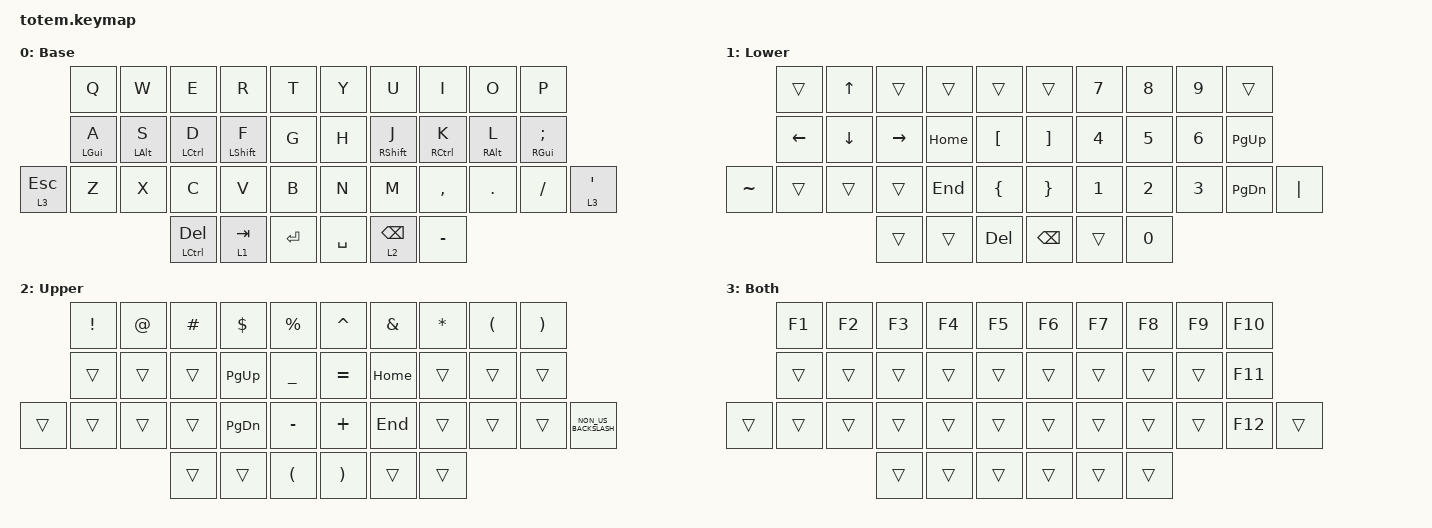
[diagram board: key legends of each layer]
//
//                                                        ▀▀▀▀▀     ▀▀▀▀▀          ▀▀█▀▀
//                                                        ▄▀▀▀▄  ▄  ▄▀▀▀▄  ▄  ▄▀▀▀▄  █  ▄▀▀▀▄
//                                                        █   █  █  █   █  █  █   █  █  █   █
//                                                         ▀▀▀   █   ▀▀▀   █   ▀▀▀   ▀   ▀▀▀
//                                                               █      ▄▄▄█▄▄▄    █   █  
//                                                               ▀      █  █  █     █▄█
//                                                             ▀▀▀▀▀    █  █  █      ▀
//                                                                      ▀  ▀  ▀
//
// ▄▄▄▄▄▄▄▄▄▄▄▄▄▄▄▄▄▄▄▄▄▄▄▄▄▄▄▄▄▄▄▄▄▄▄▄▄▄▄▄▄▄▄▄▄▄▄▄▄▄▄▄▄▄▄▄▄▄▄▄▄▄▄▄▄▄▄▄▄▄▄▄▄▄▄▄▄▄▄▄▄▄▄▄▄▄▄▄▄▄▄▄▄▄▄▄▄▄▄▄▄▄▄▄▄▄▄▄▄▄▄▄▄▄▄▄▄▄▄▄▄▄▄▄▄▄▄▄▄▄▄▄▄▄▄▄▄▄▄▄▄▄▄▄▄▄▄▄▄

#include <behaviors.dtsi>
#include <dt-bindings/zmk/keys.h>

#define Base        0
#define Nav         1
#define Sym         2
#define Fun         3
#define Game        4
#define Gameplus    5

&mt {
    quick-tap-ms = <100>;
    global-quick-tap;
    flavor = "tap-preferred";
    tapping-term-ms = <170>;
};

&lt {
    tapping-term-ms = <240>;
    flavor = "balanced";
    quick-tap-ms = <150>;
};

/ {
    behaviors {
        hm: homerow_mods {
            compatible = "zmk,behavior-hold-tap";
            label = "HOMEROW_MODS";
            #binding-cells = <2>;
            flavor = "tap-preferred";
            tapping-term-ms = <260>;
            quick-tap-ms = <125>;
            global-quick-tap;
            bindings = <&kp>, <&kp>;
        };
    };

    combos {
        compatible = "zmk,combos";

        enter {
            bindings = <&kp ENTER>;
            key-positions = <17 18 19>;
            layers = <0 1 2 3>;
        };

        tilde {
            bindings = <&kp TILDE>;
            key-positions = <0 1>;
            layers = <0 1 2 3>;
        };

        backspace {
            bindings = <&kp BACKSPACE>;
            key-positions = <8 9>;
            layers = <0 1 2 3>;
        };

        studio-unlock {
            bindings = <&studio_unlock>;
            key-positions = <35 34>;
            layers = <0 1 2 3>;
        };

        minus {
            bindings = <&kp MINUS>;
            key-positions = <26 25>;
        };

        underscore {
            bindings = <&kp UNDERSCORE>;
            key-positions = <14 15>;
        };
    };

    keymap {
        compatible = "zmk,keymap";

        Base {
            display-name = "Base";
            bindings = <
              &kp Q       &kp W       &kp E          &kp R         &kp T        &kp Y      &kp U        &kp I        &kp O       &kp P
              &hm LGUI A  &hm LALT S  &hm LCTRL D    &hm LSHIFT F  &kp G        &kp H      &hm RSHFT J  &hm RCTRL K  &hm RALT L  &hm RGUI SEMICOLON
&lt 3 ESCAPE  &kp Z       &kp X       &kp C          &kp V         &kp B        &kp N      &kp M        &kp COMMA    &kp DOT     &kp SLASH           &lt 3 SQT
                                      &mt LCTRL DEL  &lt 1 TAB     &kp ENTER    &kp SPACE  &lt 2 BSPC   &kp MINUS
            >;
        };

        Lower {
            display-name = "Lower";
            bindings = <
           &trans    &kp UP_ARROW  &trans     &trans    &trans              &trans             &kp NUMBER_7  &kp NUMBER_8  &kp NUMBER_9  &trans
           &kp LEFT  &kp DOWN      &kp RIGHT  &kp HOME  &kp LEFT_BRACKET    &kp RIGHT_BRACKET  &kp NUMBER_4  &kp N5        &kp NUMBER_6  &kp PAGE_UP
&kp TILDE  &trans    &trans        &trans     &kp END   &kp LEFT_BRACE      &kp RIGHT_BRACE    &kp NUMBER_1  &kp NUMBER_2  &kp NUMBER_3  &kp PAGE_DOWN  &kp PIPE
                                   &trans     &trans    &kp DELETE          &kp BACKSPACE      &trans        &kp N0
            >;
        };

        Upper {
            display-name = "Upper";
            bindings = <
        &kp EXCL  &kp AT  &kp HASH  &kp DOLLAR     &kp PERCENT             &kp CARET              &kp AMPERSAND  &kp ASTERISK  &kp LEFT_PARENTHESIS  &kp RIGHT_PARENTHESIS
        &trans    &trans  &trans    &kp PAGE_UP    &kp UNDERSCORE          &kp EQUAL              &kp HOME       &trans        &trans                &trans
&trans  &trans    &trans  &trans    &kp PAGE_DOWN  &kp MINUS               &kp PLUS               &kp END        &trans        &trans                &trans                 &kp NON_US_BACKSLASH
                          &trans    &trans         &kp LEFT_PARENTHESIS    &kp RIGHT_PARENTHESIS  &trans         &trans
            >;
        };

        Both {
            display-name = "Both";
            bindings = <
        &kp F1  &kp F2  &kp F3  &kp F4  &kp F5    &kp F6  &kp F7  &kp F8  &kp F9  &kp F10
        &trans  &trans  &trans  &trans  &trans    &trans  &trans  &trans  &trans  &kp F11
&trans  &trans  &trans  &trans  &trans  &trans    &trans  &trans  &trans  &trans  &kp F12  &trans
                        &trans  &trans  &trans    &trans  &trans  &trans
            >;
        };
    };

    conditional_layers {
        compatible = "zmk,conditional-layers";

        layer_both {
            if-layers = <1 2>;
            then-layer = <3>;
        };
    };
};
